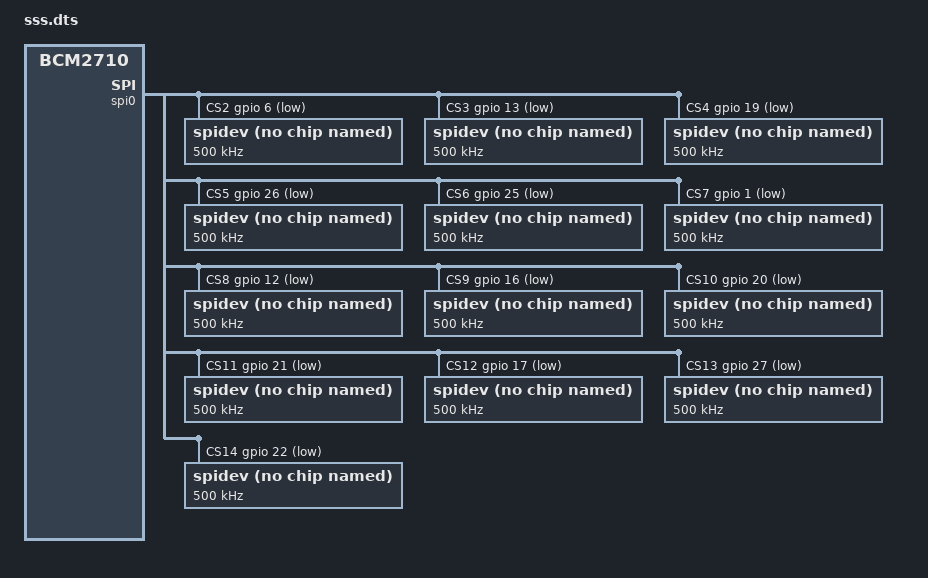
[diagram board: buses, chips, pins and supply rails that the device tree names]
/dts-v1/;
/plugin/;

/ {
	compatible = "brcm,bcm2835", "brcm,bcm2836", "brcm,bcm2708", "brcm,bcm2709", "brcm,bcm2710";

	fragment@0 {
		target = <&spi0>;
		frag0: __overlay__ {
			#address-cells = <1>;
			#size-cells = <0>;
			pinctrl-0 = <&spi0_pins &spi0_cs_pins>;
			status = "okay";
			// cs-gpios = <0>, <0>, <0>, <0>, <0>, <0>, <0>, <0>, <0>, <0>, <&gpio 0 1>, <&gpio 5 1>, <&gpio 6 1>, <&gpio 13 1>, <&gpio 19 1>, <&gpio 26 1>, <&gpio 1 1>, <&gpio 12 1>, <&gpio 16 1>, <&gpio 20 1>;
			cs-gpios = <0>, <0>, <&gpio 6 1>, <&gpio 13 1>, <&gpio 19 1>, <&gpio 26 1>, <&gpio 25 1>, <&gpio 1 1>, <&gpio 12 1>, <&gpio 16 1>, <&gpio 20 1>, <&gpio 21 1>, <&gpio 17 1>, <&gpio 27 1>, <&gpio 22 1>;
			// cs-gpios = <0>, <0>, <&gpio 0 1>, <&gpio 5 1>;

			spidev@2{
				compatible = "spidev";
				reg = <2>;	/* CE2 */
				#address-cells = <1>;
				#size-cells = <0>;
				spi-max-frequency = <500000>;
			};

			spidev@3{
				compatible = "spidev";
				reg = <3>;	/* CE3 */
				#address-cells = <1>;
				#size-cells = <0>;
				spi-max-frequency = <500000>;
			};

			
			spidev@4{
				compatible = "spidev";
				reg = <4>;	/* CE4 */
				#address-cells = <1>;
				#size-cells = <0>;
				spi-max-frequency = <500000>;
			};

			spidev@5{
				compatible = "spidev";
				reg = <5>;	/* CE5 */
				#address-cells = <1>;
				#size-cells = <0>;
				spi-max-frequency = <500000>;
			};

			spidev@6{
				compatible = "spidev";
				reg = <6>;	/* CE6 */
				#address-cells = <1>;
				#size-cells = <0>;
				spi-max-frequency = <500000>;
			};


			spidev@7{
				compatible = "spidev";
				reg = <7>;	/* CE7 */
				#address-cells = <1>;
				#size-cells = <0>;
				spi-max-frequency = <500000>;
			};


			spidev@8{
				compatible = "spidev";
				reg = <8>;	/* CE8 */
				#address-cells = <1>;
				#size-cells = <0>;
				spi-max-frequency = <500000>;
			};

			spidev@9{
				compatible = "spidev";
				reg = <9>;	/* CE9 */
				#address-cells = <1>;
				#size-cells = <0>;
				spi-max-frequency = <500000>;
			};

			spidev@10{
				compatible = "spidev";
				reg = <10>;	/* CE10 */
				#address-cells = <1>;
				#size-cells = <0>;
				spi-max-frequency = <500000>;
			};

			spidev@11{
				compatible = "spidev";
				reg = <11>;	/* CE11 */
				#address-cells = <1>;
				#size-cells = <0>;
				spi-max-frequency = <500000>;
			};

			spidev@12{
				compatible = "spidev";
				reg = <12>;	/* CE11 */
				#address-cells = <1>;
				#size-cells = <0>;
				spi-max-frequency = <500000>;
			};

			spidev@13{
				compatible = "spidev";
				reg = <13>;	/* CE11 */
				#address-cells = <1>;
				#size-cells = <0>;
				spi-max-frequency = <500000>;
			};

			spidev@14{
				compatible = "spidev";
				reg = <14>;	/* CE11 */
				#address-cells = <1>;
				#size-cells = <0>;
				spi-max-frequency = <500000>;
			};

		};
	};

	fragment@1 {
		target = <&gpio>;
		__overlay__ {
			spi0_cs_pins: spi0_cs_pins {
				// brcm,pins = <0 5 6 13 19 26 1 12 16 20>;
				brcm,pins = <6 13 19 26 25 1 12 16 20 21 17 27 22>;
				brcm,function = <1>; /* out */
			};
		};
	};

	__overrides__ {
		cs2_pin = <&frag0>,"cs-gpios:12", <&spi0_cs_pins>,"brcm,pins:0";
		cs3_pin = <&frag0>,"cs-gpios:24", <&spi0_cs_pins>,"brcm,pins:4";
		cs4_pin = <&frag0>,"cs-gpios:36", <&spi0_cs_pins>,"brcm,pins:8";
		cs5_pin = <&frag0>,"cs-gpios:48", <&spi0_cs_pins>,"brcm,pins:12";
		cs6_pin = <&frag0>,"cs-gpios:60", <&spi0_cs_pins>,"brcm,pins:16";
		cs7_pin = <&frag0>,"cs-gpios:72", <&spi0_cs_pins>,"brcm,pins:20";
		cs8_pin = <&frag0>,"cs-gpios:84", <&spi0_cs_pins>,"brcm,pins:24";
		cs9_pin = <&frag0>,"cs-gpios:96", <&spi0_cs_pins>,"brcm,pins:28";
		cs10_pin = <&frag0>,"cs-gpios:108", <&spi0_cs_pins>,"brcm,pins:32";
		cs11_pin = <&frag0>,"cs-gpios:120", <&spi0_cs_pins>,"brcm,pins:36";
		cs12_pin = <&frag0>,"cs-gpios:132", <&spi0_cs_pins>,"brcm,pins:40";
		cs13_pin = <&frag0>,"cs-gpios:144", <&spi0_cs_pins>,"brcm,pins:44";
		cs14_pin = <&frag0>,"cs-gpios:156", <&spi0_cs_pins>,"brcm,pins:48";
	};
};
